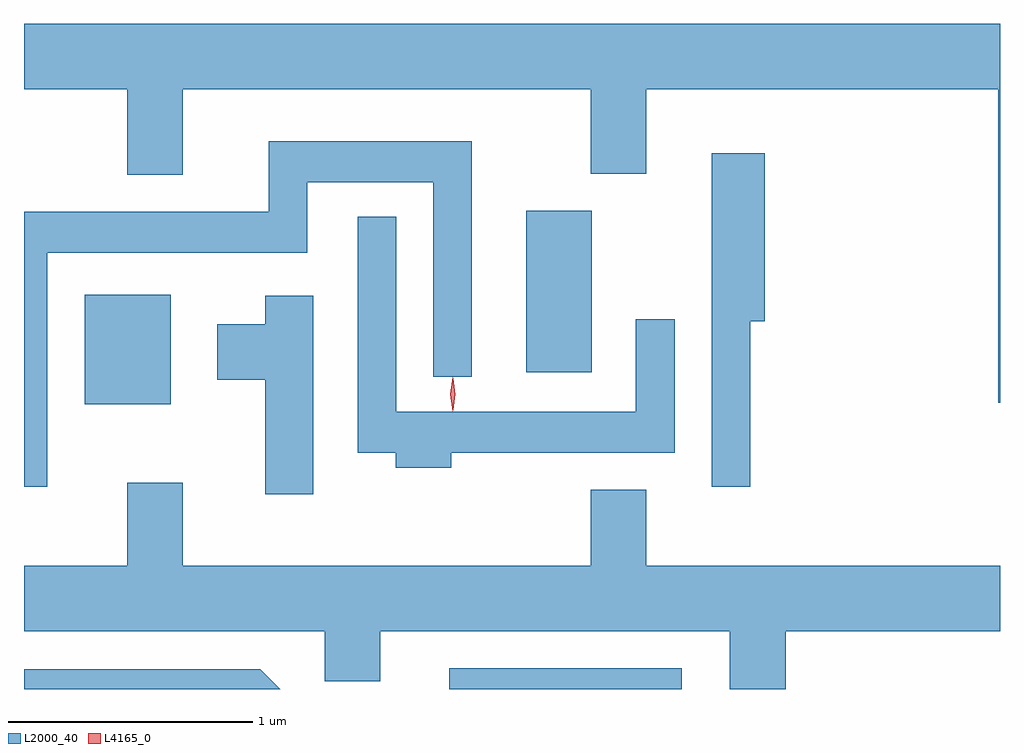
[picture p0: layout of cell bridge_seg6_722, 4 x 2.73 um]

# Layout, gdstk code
import gdstk
lib = gdstk.Library(unit=1e-6, precision=1e-09)
def R(c, l, rs):  # rectangles x0, y0, x1, y1
    for r in rs: c.add(gdstk.rectangle(r[:2], r[2:], *l))
def P(c, l, *ps):  # polygons
    for p in ps: c.add(gdstk.Polygon(p, *l))
L2000_40 = (2000, 40)
L4165_0 = (4165, 0)

bridge_seg6_722 = lib.new_cell('bridge_seg6_722')
R(bridge_seg6_722, L2000_40, [(444.341,1583.098,445.294,1583.184), (442.846,1584.266,443.199,1584.714), (444.656,1584.396,444.924,1585.059)])
P(bridge_seg6_722, L2000_40, [(446.598,1585.824),(442.598,1585.824),(442.598,1585.556),(443.021,1585.556),(443.021,1585.206),(443.249,1585.206),(443.249,1585.556),(444.921,1585.556),(444.921,1585.211),(445.149,1585.211),(445.149,1585.556),(446.591,1585.556),(446.591,1584.271),(446.598,1584.271)],
  [(442.694,1584.886),(443.759,1584.886),(443.759,1585.176),(444.276,1585.176),(444.276,1584.378),(444.434,1584.378),(444.434,1585.344),(443.601,1585.344),(443.601,1585.054),(442.598,1585.054),(442.598,1583.928),(442.694,1583.928)],
  [(445.574,1584.606),(445.634,1584.606),(445.634,1585.294),(445.416,1585.294),(445.416,1583.928),(445.574,1583.928)],
  [(444.349,1584.066),(445.264,1584.066),(445.264,1584.613),(445.106,1584.613),(445.106,1584.234),(444.124,1584.234),(444.124,1585.033),(443.966,1585.033),(443.966,1584.066),(444.121,1584.066),(444.121,1584.006),(444.349,1584.006)],
  [(443.784,1584.709),(443.586,1584.709),(443.586,1584.594),(443.391,1584.594),(443.391,1584.366),(443.586,1584.366),(443.586,1583.896),(443.784,1583.896)],
  [(445.719,1583.336),(446.598,1583.336),(446.598,1583.604),(445.149,1583.604),(445.149,1583.914),(444.921,1583.914),(444.921,1583.604),(443.249,1583.604),(443.249,1583.944),(443.021,1583.944),(443.021,1583.604),(442.598,1583.604),(442.598,1583.336),(443.831,1583.336),(443.831,1583.131),(444.059,1583.131),(444.059,1583.336),(445.491,1583.336),(445.491,1583.098),(445.719,1583.098)],
  [(443.567,1583.179),(442.598,1583.179),(442.598,1583.098),(443.648,1583.098)])
P(bridge_seg6_722, L4165_0, [(444.355,1584.237),(444.355,1584.237),(444.345,1584.307),(444.355,1584.376),(444.355,1584.376),(444.356,1584.376),(444.365,1584.307),(444.356,1584.237)],
  [(444.356,1584.24),(444.356,1584.24),(444.346,1584.306),(444.356,1584.372),(444.356,1584.373),(444.357,1584.372),(444.366,1584.306),(444.357,1584.24)])

lib.write_gds('bridge_seg6_722.gds')
